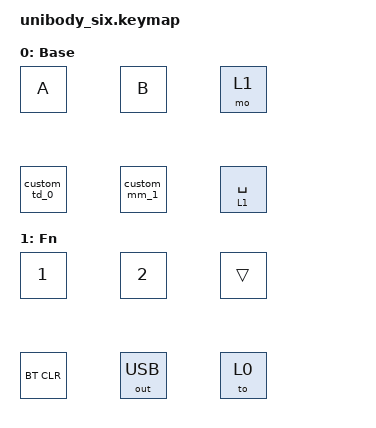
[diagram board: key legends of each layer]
#include <behaviors.dtsi>
#include <dt-bindings/zmk/keys.h>
#include <dt-bindings/zmk/bt.h>
#include <dt-bindings/zmk/outputs.h>

/ {
    behaviors {
        custom_td_0: custom_td_0 {
            compatible = "zmk,behavior-tap-dance";
            #binding-cells = <0>;
            tapping-term-ms = <200>;
            bindings = <&kp C>, <&kp D>;
        };
        custom_mm_1: custom_mm_1 {
            compatible = "zmk,behavior-mod-morph";
            #binding-cells = <0>;
            bindings = <&kp BACKSPACE>, <&kp DELETE>;
            mods = <(MOD_LSFT | MOD_RSFT)>;
        };
    };

    keymap {
        compatible = "zmk,keymap";

        base_layer {
            display-name = "Base";
            bindings = <
                &kp A
                &kp B
                &mo 1
                &custom_td_0
                &custom_mm_1
                &lt 1 SPACE
            >;
        };

        fn_layer {
            display-name = "Fn";
            bindings = <
                &kp N1
                &kp N2
                &trans
                &bt BT_CLR
                &out OUT_USB
                &to 0
            >;
        };
    };
};
